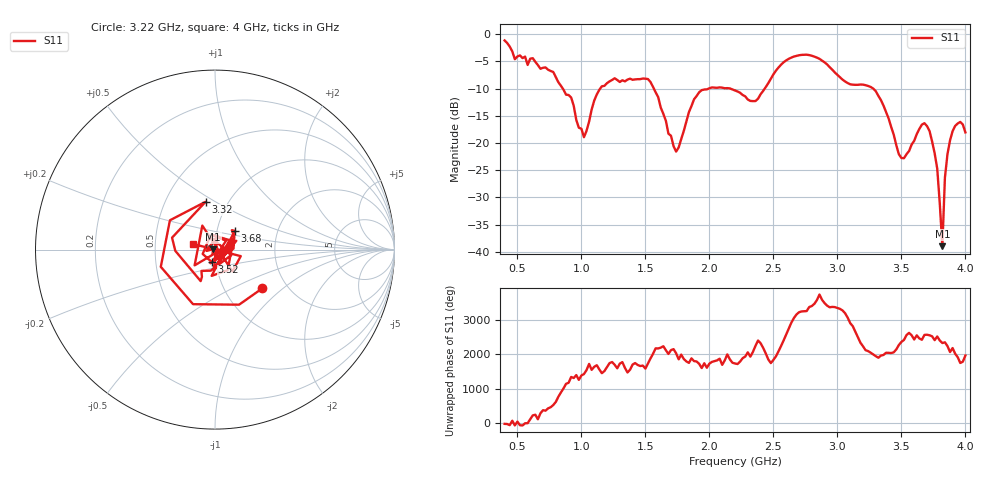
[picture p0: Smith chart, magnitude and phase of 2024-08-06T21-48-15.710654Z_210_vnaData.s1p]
!Created with skrf (http://scikit-rf.org).
# Hz S RI R 50.0
!freq ReS11 ImS11
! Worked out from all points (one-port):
!   181 points, 400 MHz to 4 GHz, reference 50 ohm
!   lowest |S11| = -39.0 dB at 3.82 GHz (marker M1), VSWR 1.02, Z = 48.9 + j0.221 ohm
!   |S11| at or under -10 dB: 855.1 MHz to 1.146 GHz (291.3 MHz wide, 29.1 % of centre); 1.566 GHz to 1.993 GHz (426.3 MHz wide, 24 % of centre); 3.281 GHz to end of sweep (the widest 3 of 4)
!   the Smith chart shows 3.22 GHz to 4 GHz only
!   S11 on the Smith chart (normalised r, x): 3.22 GHz: 1.50, -0.73; 3.32 GHz: 0.79, +0.45; 3.52 GHz: 0.96, -0.14; 3.68 GHz: 1.22, +0.26; 4 GHz: 0.78, +0.05
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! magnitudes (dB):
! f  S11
! 400 MHz  -1.1
! 480 MHz  -4.6
! 620 MHz  -4.4
! 860 MHz  -10.2
! 1.02 GHz  -18.9
! 1.14 GHz  -10.2
! 1.3 GHz  -8.8
! 1.52 GHz  -8.2
! 1.72 GHz  -20.6
! 1.76 GHz  -20.8
! 1.92 GHz  -10.7
! 2.2 GHz  -10.3
! 2.36 GHz  -12.3
! 2.66 GHz  -4.1
! 2.86 GHz  -4.5
! 3.1 GHz  -9.2
! 3.22 GHz  -9.4
! 3.32 GHz  -11.3
! 3.52 GHz  -22.8
! 3.56 GHz  -21.5
! 3.68 GHz  -16.4
! 3.72 GHz  -17.8
! 3.78 GHz  -24.7
! 3.82 GHz  -39.0
! 3.84 GHz  -26.4
! 3.88 GHz  -19.5
! 3.96 GHz  -16.1
! 4 GHz  -18.0
